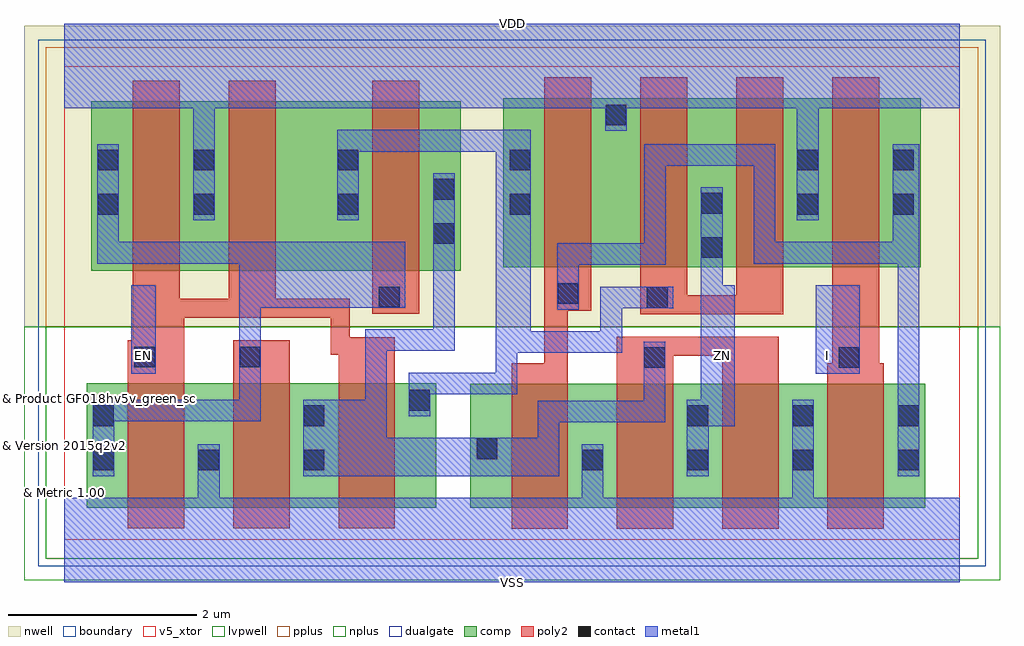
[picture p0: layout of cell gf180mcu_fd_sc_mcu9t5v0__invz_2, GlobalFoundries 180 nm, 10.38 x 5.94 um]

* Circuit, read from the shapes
.subckt gf180mcu_fd_sc_mcu9t5v0__invz_2 EN I VDD VSS ZN
XM1 VSS EN n1 VSUBS nfet_05v0 w=1.32u l=0.6u
XM2 n2 n1 VSS VSUBS nfet_05v0 w=1.32u l=0.6u
XM3 n3 EN n2 VSUBS nfet_05v0 w=1.32u l=0.6u
XM4 VSS n4 n2 VSUBS nfet_05v0 w=1.32u l=0.6u
XM5 ZN n2 VSS VSUBS nfet_05v0 w=1.32u l=0.6u m=2
XM6 n4 I VSS VSUBS nfet_05v0 w=1.32u l=0.6u
XM7 VDD EN n1 n5 pfet_05v0 w=1.8u l=0.5u
XM8 n3 EN VDD n5 pfet_05v0 w=1.8u l=0.5u
XM9 n2 n1 n3 n5 pfet_05v0 w=1.8u l=0.5u
XM10 VDD n4 n3 n5 pfet_05v0 w=1.8u l=0.5u
XM11 ZN n3 VDD n5 pfet_05v0 w=1.8u l=0.5u m=2
XM12 n4 I VDD n5 pfet_05v0 w=1.8u l=0.5u
.ends

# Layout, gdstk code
import gdstk
lib = gdstk.Library(unit=1e-6, precision=1e-09)
def R(c, l, rs):  # rectangles x0, y0, x1, y1
    for r in rs: c.add(gdstk.rectangle(r[:2], r[2:], *l))
def A(c, l, x, y, w, h, nx, ny, dx, dy):  # array of equal rectangles
    R(c, l, [(x+i*dx, y+j*dy, x+i*dx+w, y+j*dy+h) for i in range(nx) for j in range(ny)])
def P(c, l, *ps):  # polygons
    for p in ps: c.add(gdstk.Polygon(p, *l))
boundary = (0, 0)
nwell = (21, 0)
comp = (22, 0)
poly2 = (30, 0)
pplus = (31, 0)
nplus = (32, 0)
contact = (33, 0)
metal1 = (34, 0)
dualgate = (55, 0)
v5_xtor = (112, 1)
lvpwell = (204, 0)

gf180mcu_fd_sc_mcu9t5v0_ = lib.new_cell('gf180mcu_fd_sc_mcu9t5v0__invz_2')
R(gf180mcu_fd_sc_mcu9t5v0_, boundary, [(0,0,9.52,5.04)])
R(gf180mcu_fd_sc_mcu9t5v0_, nwell, [(-0.43,2.265,9.95,5.47)])
R(gf180mcu_fd_sc_mcu9t5v0_, comp, [(4.315,0.34,9.155,1.66), (0.235,0.345,3.955,1.665), (0.285,2.865,4.215,4.665), (4.665,2.9,9.105,4.7)])
R(gf180mcu_fd_sc_mcu9t5v0_, poly2, [(1.795,0.125,2.395,2.125), (3.275,2.405,3.775,4.885)])
P(gf180mcu_fd_sc_mcu9t5v0_, poly2, [(0.675,0.125),(0.675,2.125),(0.725,2.125),(0.725,4.885),(1.225,4.885),(1.225,2.565),(1.745,2.565),(1.745,4.885),(2.245,4.885),(2.245,2.565),(3.035,2.565),(3.035,2.155),(3.515,2.155),(3.515,0.125),(2.915,0.125),(2.915,1.97),(2.835,1.97),(2.835,2.365),(1.275,2.365),(1.275,0.125)],
  [(4.755,0.12),(4.755,1.88),(5.105,1.88),(5.105,4.92),(5.605,4.92),(5.605,2.44),(5.355,2.44),(5.355,0.12)],
  [(5.875,0.12),(5.875,2.16),(7.595,2.16),(7.595,0.12),(6.995,0.12),(6.995,1.96),(6.475,1.96),(6.475,0.12)],
  [(6.125,2.4),(6.125,4.92),(6.625,4.92),(6.625,2.6),(7.145,2.6),(7.145,4.92),(7.645,4.92),(7.645,2.4)],
  [(8.115,0.12),(8.115,1.88),(8.165,1.88),(8.165,4.92),(8.665,4.92),(8.665,1.88),(8.715,1.88),(8.715,0.12)])
R(gf180mcu_fd_sc_mcu9t5v0_, pplus, [(-0.2,2.265,9.72,5.24)])
R(gf180mcu_fd_sc_mcu9t5v0_, nplus, [(-0.2,-0.2,9.72,2.265)])
A(gf180mcu_fd_sc_mcu9t5v0_, contact, 0.305, 0.74, 0.22, 0.22, 3, 1, 1.12, 0)
A(gf180mcu_fd_sc_mcu9t5v0_, contact, 5.505, 0.74, 0.22, 0.22, 4, 1, 1.12, 0)
A(gf180mcu_fd_sc_mcu9t5v0_, contact, 6.625, 1.21, 0.22, 0.22, 3, 1, 1.12, 0)
R(gf180mcu_fd_sc_mcu9t5v0_, contact, [(4.385,0.86,4.605,1.08), (0.305,1.21,0.525,1.43), (2.545,1.21,2.765,1.43), (3.665,1.375,3.885,1.595), (6.165,1.83,6.385,2.05), (8.235,1.83,8.455,2.05), (0.745,1.835,0.965,2.055), (1.865,1.835,2.085,2.055), (6.195,2.47,6.415,2.69), (3.345,2.475,3.565,2.695), (5.245,2.51,5.465,2.73), (6.775,3,6.995,3.22), (3.925,3.15,4.145,3.37), (0.355,3.46,0.575,3.68), (1.375,3.46,1.595,3.68), (2.905,3.46,3.125,3.68), (4.735,3.46,4.955,3.68), (7.795,3.46,8.015,3.68), (8.815,3.46,9.035,3.68), (6.775,3.47,6.995,3.69), (3.925,3.62,4.145,3.84), (0.355,3.93,0.575,4.15), (1.375,3.93,1.595,4.15), (2.905,3.93,3.125,4.15), (4.735,3.93,4.955,4.15), (7.795,3.93,8.015,4.15), (8.815,3.93,9.035,4.15), (5.755,4.41,5.975,4.63)])
R(gf180mcu_fd_sc_mcu9t5v0_, metal1, [(0.71,1.77,0.97,2.71), (7.99,1.77,8.46,2.71)])
P(gf180mcu_fd_sc_mcu9t5v0_, metal1, [(0.3,0.68),(0.3,1.49),(1.86,1.49),(1.86,2.94),(0.35,2.94),(0.35,4.21),(0.58,4.21),(0.58,3.17),(3.625,3.17),(3.625,2.47),(2.09,2.47),(2.09,1.26),(0.53,1.26),(0.53,0.68)],
  [(2.54,0.68),(2.54,1.49),(3.2,1.49),(3.2,2.24),(3.92,2.24),(3.92,3.9),(4.15,3.9),(4.15,2.01),(3.43,2.01),(3.43,1.085),(5.035,1.085),(5.035,1.48),(6.16,1.48),(6.16,2.11),(6.39,2.11),(6.39,1.25),(5.265,1.25),(5.265,0.68)],
  [(3.66,1.315),(3.66,1.78),(4.585,1.78),(4.585,4.13),(3.13,4.13),(3.13,3.4),(2.9,3.4),(2.9,4.36),(4.96,4.36),(4.96,2.22),(5.7,2.22),(5.7,2.695),(6.475,2.695),(6.475,2.465),(5.93,2.465),(5.93,1.99),(4.815,1.99),(4.815,1.55),(3.89,1.55),(3.89,1.315)],
  [(6.62,0.68),(6.62,1.49),(6.77,1.49),(6.77,3.75),(7,3.75),(7,2.71),(7.13,2.71),(7.13,1.21),(6.85,1.21),(6.85,0.68)],
  [(8.86,0.68),(8.86,2.94),(7.33,2.94),(7.33,3.98),(6.395,3.98),(6.395,2.925),(5.47,2.925),(5.47,2.45),(5.24,2.45),(5.24,3.155),(6.165,3.155),(6.165,4.21),(7.56,4.21),(7.56,3.17),(8.81,3.17),(8.81,4.21),(9.09,4.21),(9.09,0.68)],
  [(0,-0.45),(0,0.45),(1.42,0.45),(1.42,1.02),(1.65,1.02),(1.65,0.45),(5.5,0.45),(5.5,1.02),(5.73,1.02),(5.73,0.45),(7.74,0.45),(7.74,1.49),(7.97,1.49),(7.97,0.45),(9.52,0.45),(9.52,-0.45)],
  [(1.37,3.4),(1.37,4.59),(0,4.59),(0,5.49),(9.52,5.49),(9.52,4.59),(8.02,4.59),(8.02,3.4),(7.79,3.4),(7.79,4.59),(5.98,4.59),(5.98,4.35),(5.75,4.35),(5.75,4.59),(1.6,4.59),(1.6,3.4)])
R(gf180mcu_fd_sc_mcu9t5v0_, dualgate, [(-0.28,-0.28,9.8,5.32)])
R(gf180mcu_fd_sc_mcu9t5v0_, v5_xtor, [(0,0,9.52,5.04)])
R(gf180mcu_fd_sc_mcu9t5v0_, lvpwell, [(-0.43,-0.43,9.95,2.265)])
gf180mcu_fd_sc_mcu9t5v0_.add(gdstk.Label('EN', (0.84,1.96), layer=34, texttype=10))
gf180mcu_fd_sc_mcu9t5v0_.add(gdstk.Label('I', (8.12,1.96), layer=34, texttype=10))
gf180mcu_fd_sc_mcu9t5v0_.add(gdstk.Label('VDD', (4.76,5.49), layer=34, texttype=10))
gf180mcu_fd_sc_mcu9t5v0_.add(gdstk.Label('VSS', (4.76,-0.45), layer=34, texttype=10))
gf180mcu_fd_sc_mcu9t5v0_.add(gdstk.Label('ZN', (7,1.96), layer=34, texttype=10))
gf180mcu_fd_sc_mcu9t5v0_.add(gdstk.Label('& Vendor GLOBALFOUNDRIES', (0,2), layer=63, texttype=63))
gf180mcu_fd_sc_mcu9t5v0_.add(gdstk.Label('& Product GF018hv5v_green_sc9', (0,1.5), layer=63, texttype=63))
gf180mcu_fd_sc_mcu9t5v0_.add(gdstk.Label('& Version 2015q2v2', (0,1), layer=63, texttype=63))
gf180mcu_fd_sc_mcu9t5v0_.add(gdstk.Label('& Metric 1.00', (0,0.5), layer=63, texttype=63))

lib.write_gds('gf180mcu_fd_sc_mcu9t5v0__invz_2.gds')
